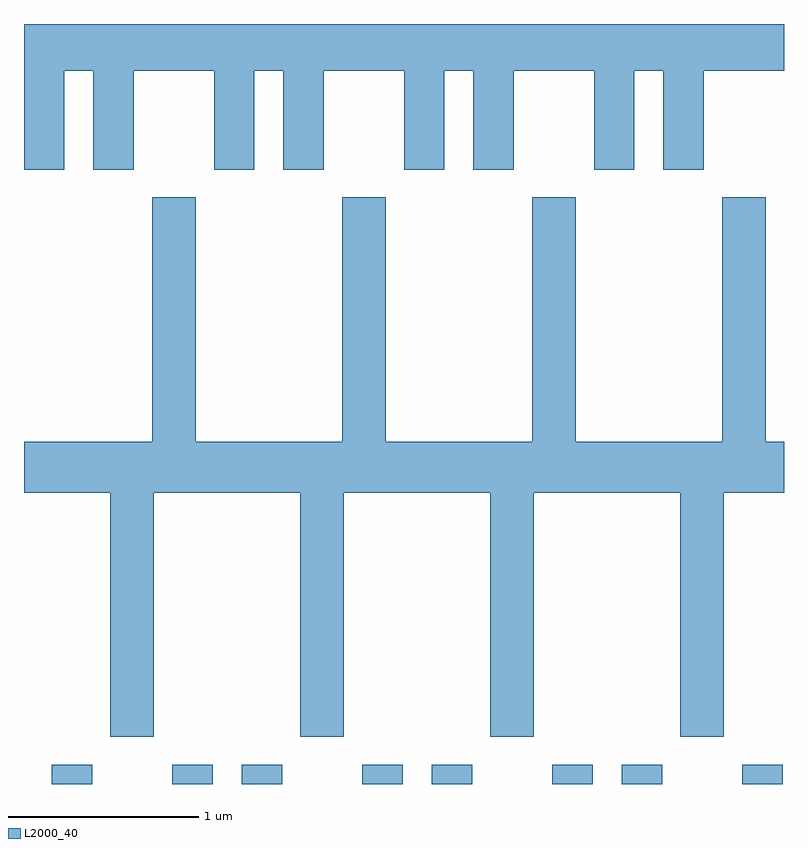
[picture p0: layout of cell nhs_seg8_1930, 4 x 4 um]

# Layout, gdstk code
import gdstk
lib = gdstk.Library(unit=1e-6, precision=1e-09)
def R(c, l, rs):  # rectangles x0, y0, x1, y1
    for r in rs: c.add(gdstk.rectangle(r[:2], r[2:], *l))
def P(c, l, *ps):  # polygons
    for p in ps: c.add(gdstk.Polygon(p, *l))
L2000_40 = (2000, 40)

nhs_seg8_1930 = lib.new_cell('nhs_seg8_1930')
R(nhs_seg8_1930, L2000_40, [(241.756,1930.342,241.969,1930.444), (242.391,1930.342,242.604,1930.444), (242.756,1930.342,242.969,1930.444), (243.391,1930.342,243.604,1930.444), (243.756,1930.342,243.969,1930.444), (244.391,1930.342,244.604,1930.444), (244.756,1930.342,244.969,1930.444), (245.391,1930.342,245.604,1930.444)])
P(nhs_seg8_1930, L2000_40, [(241.611,1933.576),(241.824,1933.576),(241.824,1934.096),(241.976,1934.096),(241.976,1933.576),(242.189,1933.576),(242.189,1934.096),(242.611,1934.096),(242.611,1933.576),(242.824,1933.576),(242.824,1934.096),(242.976,1934.096),(242.976,1933.576),(243.189,1933.576),(243.189,1934.096),(243.611,1934.096),(243.611,1933.576),(243.824,1933.576),(243.824,1934.096),(243.976,1934.096),(243.976,1933.576),(244.189,1933.576),(244.189,1934.096),(244.611,1934.096),(244.611,1933.576),(244.824,1933.576),(244.824,1934.096),(244.976,1934.096),(244.976,1933.576),(245.189,1933.576),(245.189,1934.096),(245.611,1934.096),(245.611,1934.342),(241.611,1934.342)],
  [(242.294,1931.876),(243.066,1931.876),(243.066,1930.591),(243.294,1930.591),(243.294,1931.876),(244.066,1931.876),(244.066,1930.591),(244.294,1930.591),(244.294,1931.876),(245.066,1931.876),(245.066,1930.591),(245.294,1930.591),(245.294,1931.876),(245.611,1931.876),(245.611,1932.144),(245.514,1932.144),(245.514,1933.429),(245.286,1933.429),(245.286,1932.144),(244.514,1932.144),(244.514,1933.429),(244.286,1933.429),(244.286,1932.144),(243.514,1932.144),(243.514,1933.429),(243.286,1933.429),(243.286,1932.144),(242.514,1932.144),(242.514,1933.429),(242.286,1933.429),(242.286,1932.144),(241.611,1932.144),(241.611,1931.876),(242.066,1931.876),(242.066,1930.591),(242.294,1930.591)])

lib.write_gds('nhs_seg8_1930.gds')
